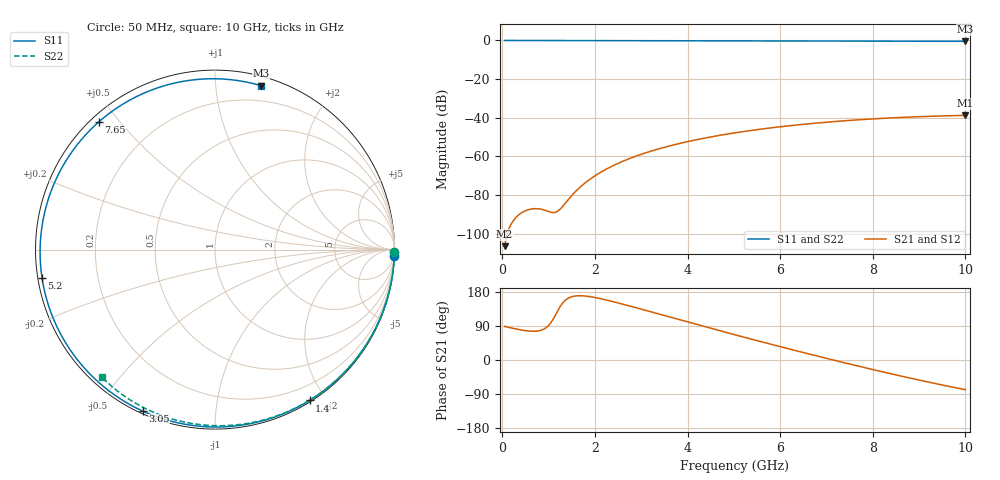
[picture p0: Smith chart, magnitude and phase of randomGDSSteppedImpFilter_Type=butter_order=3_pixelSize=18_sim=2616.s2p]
! freq	dB(S11)	phase(S11)	dB(S12)	phase(S12)
!  dB(S21)	phase(S21)	dB(S22)	phase(S22)
!S-par simulation data
#  GHz  S  DB  R 50
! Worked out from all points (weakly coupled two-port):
!   200 points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, 50 MHz to 10 GHz, reference 50 ohm
!   highest |S21| = -38.79 dB at 10 GHz (marker M1); lowest = -106.6 dB at 50 MHz (marker M2)
!   lowest |S11| = -0.5 dB at 10 GHz (marker M3), VSWR 38.01, Z = 3.6 + j65.8 ohm
!   |S11| at or under -10 dB: nowhere
!   |S22| runs from -0.4 to 0.0 dB; largest |S21 - S12| = 0
!   S11 on the Smith chart (normalised r, x): 50 MHz: 0, -53; 1.4 GHz: 0.02, -1.81; 3.05 GHz: 0.01, -0.65; 5.2 GHz: 0.01, -0.08; 7.65 GHz: 0.02, +0.44; 10 GHz: 0.07, +1.32
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0.05  -0.00 -2.2  -106.55 88.6  -106.55 88.6  -0.00 -0.8
0.35  -0.02 -15.0  -90.42 80.5  -90.42 80.5  -0.01 -5.3
0.65  -0.04 -27.7  -87.22 75.9  -87.22 75.9  -0.01 -9.8
1.05  -0.05 -44.1  -88.97 98.5  -88.97 98.5  -0.02 -15.8
1.4  -0.07 -57.9  -83.10 161.4  -83.10 161.4  -0.03 -21.0
1.5  -0.07 -61.8  -80.29 167.0  -80.29 167.0  -0.03 -22.5
1.75  -0.08 -71.1  -74.52 169.2  -74.52 169.2  -0.03 -26.2
2  -0.09 -80.1  -70.11 164.9  -70.11 164.9  -0.04 -29.9
2.3  -0.10 -90.4  -65.96 156.8  -65.96 156.8  -0.04 -34.2
2.65  -0.11 -101.8  -62.11 145.8  -62.11 145.8  -0.05 -39.3
3.05  -0.13 -114.1  -58.57 132.5  -58.57 132.5  -0.06 -45.0
3.4  -0.14 -124.3  -56.00 120.6  -56.00 120.6  -0.07 -49.9
4.2  -0.16 -146.0  -51.38 93.7  -51.38 93.7  -0.09 -60.9
4.6  -0.18 -156.1  -49.54 80.4  -49.54 80.4  -0.10 -66.3
5.05  -0.20 -167.1  -47.75 65.6  -47.75 65.6  -0.11 -72.2
5.2  -0.21 -170.7  -47.21 60.8  -47.21 60.8  -0.12 -74.2
5.95  -0.24 171.7  -44.85 36.8  -44.85 36.8  -0.14 -83.8
6.7  -0.28 154.5  -42.97 13.5  -42.97 13.5  -0.18 -93.1
7.65  -0.34 132.4  -41.16 -15.0  -41.16 -15.0  -0.24 -104.5
8.35  -0.37 115.7  -40.17 -35.2  -40.17 -35.2  -0.29 -112.7
9.2  -0.42 94.8  -39.32 -58.3  -39.32 -58.3  -0.36 -122.4
10  -0.46 74.4  -38.79 -78.3  -38.79 -78.3  -0.45 -131.5
